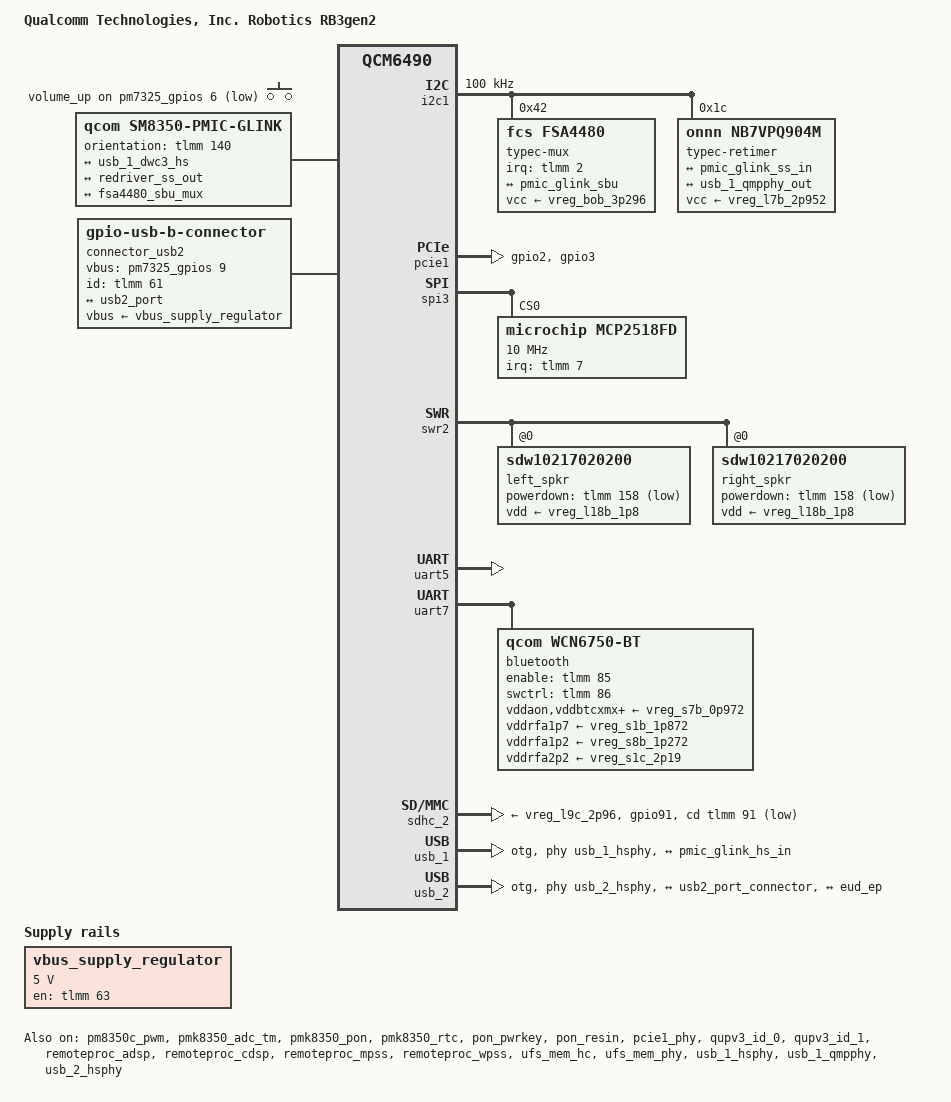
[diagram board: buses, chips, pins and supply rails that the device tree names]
// SPDX-License-Identifier: BSD-3-Clause
/*
 * Copyright (c) 2023-2024 Qualcomm Innovation Center, Inc. All rights reserved.
 */

/dts-v1/;

/* PM7250B is configured to use SID8/9 */
#define PM7250B_SID 8
#define PM7250B_SID1 9

#include <dt-bindings/iio/qcom,spmi-adc7-pm7325.h>
#include <dt-bindings/iio/qcom,spmi-adc7-pmk8350.h>
#include <dt-bindings/input/linux-event-codes.h>
#include <dt-bindings/leds/common.h>
#include <dt-bindings/pinctrl/qcom,pmic-gpio.h>
#include <dt-bindings/regulator/qcom,rpmh-regulator.h>
#include "qcm6490.dtsi"
#include "pm7250b.dtsi"
#include "pm7325.dtsi"
#include "pm8350c.dtsi"
#include "pmk8350.dtsi"

/delete-node/ &usb_2_dwc3;

/ {
	model = "Qualcomm Technologies, Inc. Robotics RB3gen2";
	compatible = "qcom,qcs6490-rb3gen2", "qcom,qcm6490";

	qcom,msm-id = <497 0x10000>, <498 0x10000>, <475 0x10000>, <515 0x10000>;
	qcom,board-id = <32 0x5>, <32 0x605>;

	aliases {
		serial0 = &uart5;
		bluetooth0 = &bluetooth;
		serial1 = &uart7;
	};

	chosen {
		stdout-path = "serial0:115200n8";
	};

	gpio-keys {
		compatible = "gpio-keys";
		label = "gpio-keys";

		pinctrl-0 = <&key_vol_up_default>;
		pinctrl-names = "default";

		key-volume-up {
			label = "volume_up";
			gpios = <&pm7325_gpios 6 GPIO_ACTIVE_LOW>;
			linux,input-type = <1>;
			linux,code = <KEY_VOLUMEUP>;
			wakeup-source;
			debounce-interval = <15>;
			linux,can-disable;
		};
	};

	pmic-glink {
		compatible = "qcom,sm8350-pmic-glink", "qcom,pmic-glink";
		#address-cells = <1>;
		#size-cells = <0>;
		orientation-gpios = <&tlmm 140 GPIO_ACTIVE_HIGH>;
		qcom,thermal-mitigation = <3000000 1500000 1000000 500000>;

		connector@0 {
			compatible = "usb-c-connector";
			reg = <0>;
			power-role = "dual";
			data-role = "dual";

			ports {
				#address-cells = <1>;
				#size-cells = <0>;

				port@0 {
					reg = <0>;

					pmic_glink_hs_in: endpoint {
						remote-endpoint = <&usb_1_dwc3_hs>;
					};
				};

				port@1 {
					reg = <1>;

					pmic_glink_ss_in: endpoint {
						remote-endpoint = <&redriver_ss_out>;
					};
				};

				port@2 {
					reg = <2>;

					pmic_glink_sbu: endpoint {
						remote-endpoint = <&fsa4480_sbu_mux>;
					};
				};
			};
		};
	};

	sound: sound {
		compatible = "qcom,qcm6490-sndcard";
		model = "qcm6490-rb3-snd-card";

		audio-routing =
			"SpkrLeft IN", "WSA_SPK1 OUT",
			"SpkrRight IN", "WSA_SPK2 OUT",
			"VA DMIC0", "vdd-micb",
			"VA DMIC1", "vdd-micb",
			"VA DMIC2", "vdd-micb",
			"VA DMIC3", "vdd-micb";

			#address-cells = <1>;
			#size-cells = <0>;

		wsa-dai-link {
			link-name = "CODEC_DMA-LPAIF_WSA-RX-0";

			cpu {
				sound-dai = <&q6apmbedai WSA_CODEC_DMA_RX_0>;
			};

			codec {
				sound-dai = <&left_spkr>, <&right_spkr>, <&swr2 0>,
					    <&lpass_wsa_macro 0>;
			};
		};

		va-dai-link {
			link-name = "CODEC_DMA-LPAIF_VA-TX-0";

			cpu {
				sound-dai = <&q6apmbedai VA_CODEC_DMA_TX_0>;
			};

			codec {
				sound-dai = <&lpass_va_macro 0>;
			};
		};

		vi-feedback-dai-link {
			link-name = "CODEC_DMA-LPAIF_WSA-TX-0";

			cpu {
				sound-dai = <&q6apmbedai WSA_CODEC_DMA_TX_0>;
			};

			codec {
				sound-dai = <&swr2 6>, <&lpass_wsa_macro 2>;
			};
		};
	};

	thermal-zones {
		quiet-thermal {
			polling-delay-passive = <0>;
			polling-delay = <0>;
			thermal-sensors = <&pmk8350_adc_tm 1>;

			trips {
				active-config0 {
					temperature = <125000>;
					hysteresis = <1000>;
					type = "passive";
				};
			};
		};

		sdm-skin-thermal {
			polling-delay-passive = <0>;
			polling-delay = <0>;
			thermal-sensors = <&pmk8350_adc_tm 3>;

			trips {
				active-config0 {
					temperature = <125000>;
					hysteresis = <1000>;
					type = "passive";
				};
			};
		};

		xo-thermal {
			polling-delay-passive = <0>;
			polling-delay = <0>;
			thermal-sensors = <&pmk8350_adc_tm 0>;

			trips {
				active-config0 {
					temperature = <125000>;
					hysteresis = <1000>;
					type = "passive";
				};
			};
		};
	};
};

&apps_rsc {
	regulators-0 {
		compatible = "qcom,pm7325-rpmh-regulators";
		qcom,pmic-id = "b";

		vreg_s1b_1p872: smps1 {
			regulator-min-microvolt = <1840000>;
			regulator-max-microvolt = <2040000>;
		};

		vreg_s2b_0p876: smps2 {
			regulator-min-microvolt = <570070>;
			regulator-max-microvolt = <1050000>;
		};

		vreg_s7b_0p972: smps7 {
			regulator-min-microvolt = <535000>;
			regulator-max-microvolt = <1120000>;
		};

		vreg_s8b_1p272: smps8 {
			regulator-min-microvolt = <1200000>;
			regulator-max-microvolt = <1500000>;
		};

		vreg_l1b_0p912: ldo1 {
			regulator-min-microvolt = <912000>;
			regulator-max-microvolt = <925000>;
			regulator-initial-mode = <RPMH_REGULATOR_MODE_HPM>;
		};

		vreg_l2b_3p072: ldo2 {
			regulator-min-microvolt = <2700000>;
			regulator-max-microvolt = <3544000>;
			regulator-initial-mode = <RPMH_REGULATOR_MODE_HPM>;
		};

		vreg_l3b_0p504: ldo3 {
			regulator-min-microvolt = <312000>;
			regulator-max-microvolt = <910000>;
			regulator-initial-mode = <RPMH_REGULATOR_MODE_HPM>;
		};

		vreg_l4b_0p752: ldo4 {
			regulator-min-microvolt = <752000>;
			regulator-max-microvolt = <820000>;
			regulator-initial-mode = <RPMH_REGULATOR_MODE_HPM>;
		};

		vreg_l5b_0p752: ldo5 {
			regulator-min-microvolt = <552000>;
			regulator-max-microvolt = <832000>;
			regulator-initial-mode = <RPMH_REGULATOR_MODE_HPM>;
		};

		vreg_l6b_1p2: ldo6 {
			regulator-min-microvolt = <1140000>;
			regulator-max-microvolt = <1260000>;
			regulator-initial-mode = <RPMH_REGULATOR_MODE_HPM>;
		};

		vreg_l7b_2p952: ldo7 {
			regulator-min-microvolt = <2400000>;
			regulator-max-microvolt = <3544000>;
			regulator-initial-mode = <RPMH_REGULATOR_MODE_HPM>;
		};

		vreg_l8b_0p904: ldo8 {
			regulator-min-microvolt = <870000>;
			regulator-max-microvolt = <970000>;
			regulator-initial-mode = <RPMH_REGULATOR_MODE_HPM>;
		};

		vreg_l9b_1p2: ldo9 {
			regulator-min-microvolt = <1200000>;
			regulator-max-microvolt = <1304000>;
			regulator-initial-mode = <RPMH_REGULATOR_MODE_HPM>;
		};

		vreg_l11b_1p504: ldo11 {
			regulator-min-microvolt = <1504000>;
			regulator-max-microvolt = <2000000>;
			regulator-initial-mode = <RPMH_REGULATOR_MODE_HPM>;
		};

		vreg_l12b_0p751: ldo12 {
			regulator-min-microvolt = <751000>;
			regulator-max-microvolt = <824000>;
			regulator-initial-mode = <RPMH_REGULATOR_MODE_HPM>;
		};

		vreg_l13b_0p53: ldo13 {
			regulator-min-microvolt = <530000>;
			regulator-max-microvolt = <824000>;
			regulator-initial-mode = <RPMH_REGULATOR_MODE_HPM>;
		};

		vreg_l14b_1p08: ldo14 {
			regulator-min-microvolt = <1080000>;
			regulator-max-microvolt = <1304000>;
			regulator-initial-mode = <RPMH_REGULATOR_MODE_HPM>;
		};

		vreg_l15b_0p765: ldo15 {
			regulator-min-microvolt = <765000>;
			regulator-max-microvolt = <1020000>;
			regulator-initial-mode = <RPMH_REGULATOR_MODE_HPM>;
		};

		vreg_l16b_1p1: ldo16 {
			regulator-min-microvolt = <1100000>;
			regulator-max-microvolt = <1300000>;
			regulator-initial-mode = <RPMH_REGULATOR_MODE_HPM>;
		};

		vreg_l17b_1p7: ldo17 {
			regulator-min-microvolt = <1700000>;
			regulator-max-microvolt = <1900000>;
			regulator-initial-mode = <RPMH_REGULATOR_MODE_HPM>;
		};

		vreg_l18b_1p8: ldo18 {
			regulator-min-microvolt = <1800000>;
			regulator-max-microvolt = <2000000>;
			regulator-initial-mode = <RPMH_REGULATOR_MODE_HPM>;
		};

		vreg_l19b_1p8: ldo19 {
			regulator-min-microvolt = <1800000>;
			regulator-max-microvolt = <2000000>;
			regulator-initial-mode = <RPMH_REGULATOR_MODE_HPM>;
		};
	};

	regulators-1 {
		compatible = "qcom,pm8350c-rpmh-regulators";
		qcom,pmic-id = "c";

		vreg_s1c_2p19: smps1 {
			regulator-min-microvolt = <2190000>;
			regulator-max-microvolt = <2210000>;
		};

		vreg_s2c_0p752: smps2 {
			regulator-min-microvolt = <750000>;
			regulator-max-microvolt = <800000>;
		};

		vreg_s5c_0p752: smps5 {
			regulator-min-microvolt = <465000>;
			regulator-max-microvolt = <1050000>;
		};

		vreg_s7c_0p752: smps7 {
			regulator-min-microvolt = <465000>;
			regulator-max-microvolt = <800000>;
		};

		vreg_s9c_1p084: smps9 {
			regulator-min-microvolt = <1010000>;
			regulator-max-microvolt = <1170000>;
		};

		vreg_s10c_0p752:smps10 {
			regulator-min-microvolt = <752000>;
			regulator-max-microvolt = <800000>;
		};

		vreg_l1c_1p8: ldo1 {
			regulator-min-microvolt = <1800000>;
			regulator-max-microvolt = <1980000>;
			regulator-initial-mode = <RPMH_REGULATOR_MODE_HPM>;
		};

		vreg_l2c_1p62: ldo2 {
			regulator-min-microvolt = <1620000>;
			regulator-max-microvolt = <1980000>;
			regulator-initial-mode = <RPMH_REGULATOR_MODE_HPM>;
		};

		vreg_l3c_2p8: ldo3 {
			regulator-min-microvolt = <2800000>;
			regulator-max-microvolt = <3540000>;
			regulator-initial-mode = <RPMH_REGULATOR_MODE_HPM>;
		};

		vreg_l4c_1p62: ldo4 {
			regulator-min-microvolt = <1620000>;
			regulator-max-microvolt = <3300000>;
			regulator-initial-mode = <RPMH_REGULATOR_MODE_HPM>;
		};

		vreg_l5c_1p62: ldo5 {
			regulator-min-microvolt = <1620000>;
			regulator-max-microvolt = <3300000>;
			regulator-initial-mode = <RPMH_REGULATOR_MODE_HPM>;
		};

		vreg_l6c_2p96: ldo6 {
			regulator-min-microvolt = <1650000>;
			regulator-max-microvolt = <3544000>;
			regulator-initial-mode = <RPMH_REGULATOR_MODE_HPM>;
		};

		vreg_l7c_3p0: ldo7 {
			regulator-min-microvolt = <3000000>;
			regulator-max-microvolt = <3544000>;
			regulator-initial-mode = <RPMH_REGULATOR_MODE_HPM>;
		};

		vreg_l8c_1p62: ldo8 {
			regulator-min-microvolt = <1620000>;
			regulator-max-microvolt = <2000000>;
			regulator-initial-mode = <RPMH_REGULATOR_MODE_HPM>;
		};

		vreg_l9c_2p96: ldo9 {
			regulator-min-microvolt = <2700000>;
			regulator-max-microvolt = <3544000>;
			regulator-initial-mode = <RPMH_REGULATOR_MODE_HPM>;
		};

		vreg_l10c_0p88: ldo10 {
			regulator-min-microvolt = <880000>;
			regulator-max-microvolt = <1050000>;
			regulator-initial-mode = <RPMH_REGULATOR_MODE_HPM>;
		};

		vreg_l11c_2p8: ldo11 {
			regulator-min-microvolt = <2800000>;
			regulator-max-microvolt = <3544000>;
			regulator-initial-mode = <RPMH_REGULATOR_MODE_HPM>;
		};

		vreg_l12c_1p65: ldo12 {
			regulator-min-microvolt = <1650000>;
			regulator-max-microvolt = <2000000>;
			regulator-initial-mode = <RPMH_REGULATOR_MODE_HPM>;
		};

		vreg_l13c_2p7: ldo13 {
			regulator-min-microvolt = <2700000>;
			regulator-max-microvolt = <3544000>;
			regulator-initial-mode = <RPMH_REGULATOR_MODE_HPM>;
		};

		vreg_bob_3p296: bob {
			regulator-min-microvolt = <3008000>;
			regulator-max-microvolt = <3960000>;
		};
	};
};

&gcc {
	protected-clocks = <GCC_QSPI_CNOC_PERIPH_AHB_CLK>, <GCC_QSPI_CORE_CLK>,
			<GCC_QSPI_CORE_CLK_SRC>, <GCC_CFG_NOC_LPASS_CLK>,
			<GCC_MSS_GPLL0_MAIN_DIV_CLK_SRC>, <GCC_MSS_CFG_AHB_CLK>,
			<GCC_MSS_OFFLINE_AXI_CLK>, <GCC_MSS_SNOC_AXI_CLK>,
			<GCC_MSS_Q6_MEMNOC_AXI_CLK>, <GCC_MSS_Q6SS_BOOT_CLK_SRC>,
			<GCC_SEC_CTRL_CLK_SRC>, <GCC_WPSS_AHB_CLK>,
			<GCC_WPSS_AHB_BDG_MST_CLK>, <GCC_WPSS_RSCP_CLK>;
};

&i2c1 {
	clock-frequency = <100000>;
	status = "okay";

	typec-mux@42 {
		compatible = "fcs,fsa4480";
		reg = <0x42>;
		interrupts-extended = <&tlmm 2 IRQ_TYPE_LEVEL_LOW>;
		vcc-supply = <&vreg_bob_3p296>;
		mode-switch;
		orientation-switch;
		svid = /bits/ 16 <0xff01>;

		ports {
			#address-cells = <1>;
			#size-cells = <0>;

			port@0 {
				reg = <0>;

				fsa4480_sbu_mux: endpoint {
					remote-endpoint = <&pmic_glink_sbu>;
				};
			};
		};
	};

	typec-retimer@1c {
		compatible = "onnn,nb7vpq904m";
		reg = <0x1c>;

		vcc-supply = <&vreg_l7b_2p952>;

		retimer-switch;
		orientation-switch;

		ports {
			#address-cells = <1>;
			#size-cells = <0>;

			port@0 {
				reg = <0>;

				redriver_ss_out: endpoint {
					remote-endpoint = <&pmic_glink_ss_in>;
				};
			};

			port@1 {
				reg = <1>;

				redriver_ss_in: endpoint {
					data-lanes = <3 2 1 0>;
					remote-endpoint = <&usb_1_qmpphy_out>;
				};
			};
		};
	};
};

&ipa {
	status = "disabled";
};

&lpasscc {
	status = "disabled";
};

&pm7325_gpios {
	key_vol_up_default: key-vol-up-state {
		pins = "gpio6";
		function = "normal";
		input-enable;
		bias-pull-up;
		power-source = <0>;
		qcom,drive-strength = <3>;
	};
};

&pm7325_temp_alarm {
	io-channels = <&pmk8350_vadc PM7325_ADC7_DIE_TEMP>;
	io-channel-names = "thermal";
};

&pm8350c_pwm {
	#address-cells = <1>;
	#size-cells = <0>;
	status = "okay";

	led@1 {
		reg = <1>;
		color = <LED_COLOR_ID_RED>;
		label = "red";
	};

	led@2 {
		reg = <2>;
		color = <LED_COLOR_ID_GREEN>;
		label = "green";
	};

	led@3 {
		reg = <3>;
		color = <LED_COLOR_ID_BLUE>;
		label = "blue";
	};
};

&pmk8350_adc_tm {
	status = "okay";

	xo-therm@0 {
		reg = <0>;
		io-channels = <&pmk8350_vadc PMK8350_ADC7_AMUX_THM1_100K_PU>;
		qcom,ratiometric;
		qcom,hw-settle-time-us = <200>;
	};

	quiet-therm@1 {
		reg = <1>;
		io-channels = <&pmk8350_vadc PM7325_ADC7_AMUX_THM1_100K_PU>;
		qcom,ratiometric;
		qcom,hw-settle-time-us = <200>;
	};

	sdm-skin-therm@3 {
		reg = <3>;
		io-channels = <&pmk8350_vadc PM7325_ADC7_AMUX_THM3_100K_PU>;
		qcom,ratiometric;
		qcom,hw-settle-time-us = <200>;
	};
};

&pmk8350_pon {
	status = "okay";
};

&pmk8350_rtc {
	status = "okay";
};

&pmk8350_vadc {
	channel@44 {
		reg = <PMK8350_ADC7_AMUX_THM1_100K_PU>;
		label = "xo_therm";
		qcom,hw-settle-time = <200>;
		qcom,pre-scaling = <1 1>;
		qcom,ratiometric;
	};

	channel@103 {
		reg = <PM7325_ADC7_DIE_TEMP>;
		label = "pm7325_die_temp";
		qcom,pre-scaling = <1 1>;
	};

	channel@144 {
		reg = <PM7325_ADC7_AMUX_THM1_100K_PU>;
		qcom,ratiometric;
		qcom,hw-settle-time = <200>;
		qcom,pre-scaling = <1 1>;
		label = "pm7325_quiet_therm";
	};

	channel@146 {
		reg = <PM7325_ADC7_AMUX_THM3_100K_PU>;
		qcom,ratiometric;
		qcom,hw-settle-time = <200>;
		qcom,pre-scaling = <1 1>;
		label = "pm7325_sdm_skin_therm";
	};

	pmk8350-die-temp@3 {
		reg = <PMK8350_ADC7_DIE_TEMP>;
		label = "pmk8350_die_temp";
		qcom,pre-scaling = <1 1>;
	};
};

&pon_pwrkey {
	status = "okay";
};

&pon_resin {
	linux,code = <KEY_VOLUMEDOWN>;
	status = "okay";
};

&lpass_dmic01_clk {
	drive-strength = <8>;
	bias-disable;
};

&lpass_dmic01_data {
	bias-pull-down;
};

&lpass_dmic23_clk {
	drive-strength = <8>;
	bias-disable;
};

&lpass_dmic23_data {
	bias-pull-down;
};

&lpass_dmic45_clk {
	drive-strength = <8>;
	bias-disable;
};

&lpass_dmic45_data {
	bias-pull-down;
};

&lpass_wsa_swr_clk {
	drive-strength = <2>;
	slew-rate = <1>;
	bias-disable;
};

&lpass_wsa_swr_data {
	drive-strength = <2>;
	slew-rate = <1>;
	bias-bus-hold;
};

&pcie1 {
	perst-gpios = <&tlmm 2 GPIO_ACTIVE_LOW>;

	pinctrl-0 = <&pcie1_reset_n>, <&pcie1_wake_n>, <&pcie1_clkreq_n>;
	pinctrl-names = "default";

	iommu-map = <0x0 &apps_smmu 0x1c80 0x1>,
		    <0x100 &apps_smmu 0x1c81 0x1>,
		    <0x208 &apps_smmu 0x1c84 0x1>,
		    <0x210 &apps_smmu 0x1c85 0x1>,
		    <0x218 &apps_smmu 0x1c86 0x1>,
		    <0x300 &apps_smmu 0x1c87 0x1>,
		    <0x400 &apps_smmu 0x1c88 0x1>,
		    <0x500 &apps_smmu 0x1c89 0x1>,
		    <0x501 &apps_smmu 0x1c90 0x1>;

	status = "okay";
};

&pcie1_phy {
	vdda-phy-supply = <&vreg_l10c_0p88>;
	vdda-pll-supply = <&vreg_l6b_1p2>;

	status = "okay";
};

&qup_uart5_rx {
	drive-strength = <2>;
	bias-pull-up;
};

&qup_uart5_tx {
	drive-strength = <2>;
	bias-disable;
};

&qup_uart7_cts {
	/*
	 * Configure a bias-bus-hold on CTS to lower power
	 * usage when Bluetooth is turned off. Bus hold will
	 * maintain a low power state regardless of whether
	 * the Bluetooth module drives the pin in either
	 * direction or leaves the pin fully unpowered.
	 */
	bias-bus-hold;
};

&qup_uart7_rts {
	/* We'll drive RTS, so no pull */
	drive-strength = <2>;
	bias-disable;
};

&qup_uart7_rx {
	/*
	 * Configure a pull-up on RX. This is needed to avoid
	 * garbage data when the TX pin of the Bluetooth module is
	 * in tri-state (module powered off or not driving the
	 * signal yet).
	 */
	bias-pull-up;
};

&qup_uart7_tx {
	/* We'll drive TX, so no pull */
	drive-strength = <2>;
	bias-disable;
};

&gpi_dma0 {
	status = "okay";
};

&gpi_dma1 {
	status = "okay";
};

&qupv3_id_0 {
	status = "okay";
};

&qupv3_id_1 {
	status = "okay";
};

&remoteproc_adsp {
	firmware-name = "qcom/qcs6490/adsp.mdt";
	status = "okay";
};

&remoteproc_cdsp {
	firmware-name = "qcom/qcs6490/cdsp.mdt";
	status = "okay";
};

&remoteproc_mpss {
	firmware-name = "qcom/qcs6490/modem.mdt";
	status = "okay";
};

&remoteproc_wpss {
	firmware-name = "qcom/qcs6490/wpss.mdt";
	status = "okay";
};

&spi3 {
	status = "okay";

	mcp2518fd: can@0 {
		compatible = "microchip,mcp2518fd";
		reg = <0>;
		#address-cells = <1>;
		#size-cells = <0>;
		clock-frequency = <40000000>;
		spi-max-frequency = <10000000>;
		interrupt-names = "can_irq";
		interrupts-extended = <&tlmm 7 IRQ_TYPE_LEVEL_LOW>;
		status = "okay";
	};
};

&swr2 {
	qcom,din-ports = <0>;
	qcom,dout-ports = <8>;

	left_spkr: speaker@0,1 {
		compatible = "sdw10217020200";
		reg = <0 1>;
		powerdown-gpios = <&tlmm 158 GPIO_ACTIVE_LOW>;
		#sound-dai-cells = <0>;
		sound-name-prefix = "SpkrLeft";
		#thermal-sensor-cells = <0>;
		vdd-supply = <&vreg_l18b_1p8>;
		qcom,port-mapping = <1 2 3 7>;
	};

	right_spkr: speaker@0,2 {
		compatible = "sdw10217020200";
		reg = <0 2>;
		powerdown-gpios = <&tlmm 158 GPIO_ACTIVE_LOW>;
		#sound-dai-cells = <0>;
		sound-name-prefix = "SpkrRight";
		#thermal-sensor-cells = <0>;
		vdd-supply = <&vreg_l18b_1p8>;
		qcom,port-mapping = <4 5 6 8>;
	};
};

&tlmm {
	bt_en: bt-en-state {
		pins = "gpio85";
		function = "gpio";
		output-low;
		bias-disable;
	};

	pcie1_reset_n: pcie1-reset-n-state {
		pins = "gpio2";
		function = "gpio";
		drive-strength = <16>;
		output-low;
		bias-disable;
	};

	pcie1_wake_n: pcie1-wake-n-state {
		pins = "gpio3";
		function = "gpio";
		drive-strength = <2>;
		bias-pull-up;
	};

	qup_uart7_sleep_cts: qup-uart7-sleep-cts-state {
		pins = "gpio28";
		function = "gpio";
		/*
		 * Configure a bias-bus-hold on CTS to lower power
		 * usage when Bluetooth is turned off. Bus hold will
		 * maintain a low power state regardless of whether
		 * the Bluetooth module drives the pin in either
		 * direction or leaves the pin fully unpowered.
		 */
		bias-bus-hold;
	};

	qup_uart7_sleep_rts: qup-uart7-sleep-rts-state {
		pins = "gpio29";
		function = "gpio";
		/*
		 * Configure pull-down on RTS. As RTS is active low
		 * signal, pull it low to indicate the BT SoC that it
		 * can wakeup the system anytime from suspend state by
		 * pulling RX low (by sending wakeup bytes).
		 */
		bias-pull-down;
	};

	qup_uart7_sleep_rx: qup-uart7-sleep-rx-state {
		pins = "gpio31";
		function = "gpio";
		/*
		 * Configure a pull-up on RX. This is needed to avoid
		 * garbage data when the TX pin of the Bluetooth module
		 * is floating which may cause spurious wakeups.
		 */
		bias-pull-up;
	};

	qup_uart7_sleep_tx: qup-uart7-sleep-tx-state {
		pins = "gpio30";
		function = "gpio";
		/*
		 * Configure pull-up on TX when it isn't actively driven
		 * to prevent BT SoC from receiving garbage during sleep.
		 */
		bias-pull-up;
	};

	sw_ctrl: sw-ctrl-state {
		pins = "gpio86";
		function = "gpio";
		bias-pull-down;
	};
};

&uart5 {
	compatible = "qcom,geni-debug-uart";
	status = "okay";
};

&uart7 {
	status = "okay";
	/delete-property/interrupts;
	interrupts-extended = <&intc GIC_SPI 608 IRQ_TYPE_LEVEL_HIGH>,
				<&tlmm 31 IRQ_TYPE_EDGE_FALLING>;
	pinctrl-names = "default", "sleep";
	pinctrl-1 = <&qup_uart7_sleep_cts>, <&qup_uart7_sleep_rts>,
			<&qup_uart7_sleep_tx>, <&qup_uart7_sleep_rx>;

	bluetooth: bluetooth {
		compatible = "qcom,wcn6750-bt";
		pinctrl-names = "default";
		pinctrl-0 = <&bt_en>, <&sw_ctrl>;
		enable-gpios = <&tlmm 85 GPIO_ACTIVE_HIGH>;
		swctrl-gpios = <&tlmm 86 GPIO_ACTIVE_HIGH>;
		vddaon-supply = <&vreg_s7b_0p972>;
		vddbtcxmx-supply = <&vreg_s7b_0p972>;
		vddrfacmn-supply = <&vreg_s7b_0p972>;
		vddrfa0p8-supply = <&vreg_s7b_0p972>;
		vddrfa1p7-supply = <&vreg_s1b_1p872>;
		vddrfa1p2-supply = <&vreg_s8b_1p272>;
		vddrfa2p2-supply = <&vreg_s1c_2p19>;
		vddasd-supply = <&vreg_l11c_2p8>;
		max-speed = <3200000>;
	};
};

&ufs_mem_hc {
	reset-gpios = <&tlmm 175 GPIO_ACTIVE_LOW>;
	vcc-supply = <&vreg_l7b_2p952>;
	vcc-max-microamp = <800000>;
	vccq-supply = <&vreg_l9b_1p2>;
	vccq-max-microamp = <900000>;
	vccq2-supply = <&vreg_l9b_1p2>;
	vccq2-max-microamp = <900000>;

	status = "okay";
};

&ufs_mem_phy {
	vdda-phy-supply = <&vreg_l10c_0p88>;
	vdda-pll-supply = <&vreg_l6b_1p2>;

	status = "okay";
};

&sdhc_2 {
	status = "okay";

	pinctrl-0 = <&sdc2_clk>, <&sdc2_cmd>, <&sdc2_data>, <&sd_cd>;
	pinctrl-1 = <&sdc2_clk_sleep>, <&sdc2_cmd_sleep>, <&sdc2_data_sleep>, <&sd_cd>;

	vmmc-supply = <&vreg_l9c_2p96>;
	vqmmc-supply = <&vreg_l6c_2p96>;

	cd-gpios = <&tlmm 91 GPIO_ACTIVE_LOW>;
};

/delete-node/ &usb_1_dwc3;

&usb_1 {

	reg = <0x0 0x0a600000 0x0 0x200000>;

	interrupts-extended = <&intc GIC_SPI 133 IRQ_TYPE_LEVEL_HIGH>,
			      <&intc GIC_SPI 131 IRQ_TYPE_LEVEL_HIGH>,
			      <&pdc 14 IRQ_TYPE_LEVEL_HIGH>,
			      <&pdc 15 IRQ_TYPE_EDGE_BOTH>,
			      <&pdc 17 IRQ_TYPE_EDGE_BOTH>;
	interrupt-names = "dwc_usb3",
			  "hs_phy_irq",
			  "dp_hs_phy_irq",
			  "dm_hs_phy_irq",
			  "ss_phy_irq";

	iommus = <&apps_smmu 0xe0 0x0>;
	snps,dis_u2_susphy_quirk;
	snps,dis_enblslpm_quirk;
	phys = <&usb_1_hsphy>, <&usb_1_qmpphy QMP_USB43DP_USB3_PHY>;
	phy-names = "usb2-phy", "usb3-phy";
	maximum-speed = "super-speed";
	snps,dis-u2-entry-quirk;
	snps,dis-u1-entry-quirk;
	dr_mode = "otg";
	usb-role-switch;
	qcom,enable-rt;
	wakeup-source;

	status = "okay";

	ports {
		#address-cells = <1>;
		#size-cells = <0>;

		port@0 {
			reg = <0>;
			usb_1_dwc3_hs: endpoint {
			};
		};
	};
};

&usb_1_dwc3_hs {
	remote-endpoint = <&pmic_glink_hs_in>;
};

&usb_1_hsphy {
	vdda-pll-supply = <&vreg_l10c_0p88>;
	vdda18-supply = <&vreg_l1c_1p8>;
	vdda33-supply = <&vreg_l2b_3p072>;

	status = "okay";
};

&usb_1_qmpphy {
	vdda-phy-supply = <&vreg_l6b_1p2>;
	vdda-pll-supply = <&vreg_l1b_0p912>;

	orientation-switch;
	status = "okay";
};

&usb_1_qmpphy_out {
	remote-endpoint = <&redriver_ss_in>;
};

&vreg_l7b_2p952 {
	/delete-property/regulator-min-microvolt;
	/delete-property/regulator-max-microvolt;
	regulator-allow-set-load;
	regulator-allowed-modes = <RPMH_REGULATOR_MODE_LPM RPMH_REGULATOR_MODE_HPM>;
};

&vreg_l9b_1p2 {
	/delete-property/regulator-min-microvolt;
	/delete-property/regulator-max-microvolt;
	regulator-allow-set-load;
	regulator-allowed-modes = <RPMH_REGULATOR_MODE_LPM RPMH_REGULATOR_MODE_HPM>;
};

/*     USB2 Related Start        */
/*==============================*/

&pm7325_gpios {
	usb2_vbus_det_default: usb2_vbus_det_state {
		pins = "gpio9";
		function = "normal";
		bias-pull-down;
		input-enable;
		power-source = <0>;
	};
};

&sdc2_clk {
	bias-disable;
	drive-strength = <16>;
};

&sdc2_cmd {
	bias-pull-up;
	drive-strength = <10>;
};

&sdc2_data {
	bias-pull-up;
	drive-strength = <10>;
};

&tlmm {
	usb2_id_det_default: usb2_id_det_default {
		pins = "gpio61";
		function = "gpio";
		drive-strength = <2>;
		bias-pull-up;
	};

	sd_cd: sd-cd-state {
		pins = "gpio91";
		function = "gpio";
		bias-pull-up;
	};
};

&soc {
	vbus_supply_regulator: vbus_supply_regulator {
	       compatible = "regulator-fixed";
	       regulator-name = "vbus_supply";
	       gpio = <&tlmm 63 GPIO_ACTIVE_HIGH>;
	       regulator-min-microvolt = <5000000>;
	       regulator-max-microvolt = <5000000>;
	       regulator-boot-on;
	       enable-active-high;
	};

	connector_usb2: connector_usb2 {
		compatible = "gpio-usb-b-connector";
		vbus-gpio = <&pm7325_gpios 9 GPIO_ACTIVE_HIGH>;
		id-gpio = <&tlmm 61 GPIO_ACTIVE_HIGH>;
		vbus-supply = <&vbus_supply_regulator>;

		pinctrl-names = "default";
		pinctrl-0 = <&usb2_vbus_det_default>,
			     <&usb2_id_det_default>;
		ports {
			#address-cells = <1>;
			#size-cells = <0>;

			port@0 {
				reg = <0>;
				usb2_port_connector: endpoint {
					remote-endpoint = <&usb2_port>;
				};
			};
		};
	};
};

&usb_2 {
	reg = <0x0 0x08c00000 0x0 0x100000>;

	interrupts-extended = <&intc GIC_SPI 242 IRQ_TYPE_LEVEL_HIGH>,
				<&intc GIC_SPI 240 IRQ_TYPE_LEVEL_HIGH>,
				<&pdc 12 IRQ_TYPE_LEVEL_HIGH>,
				<&pdc 13 IRQ_TYPE_EDGE_BOTH>;
	interrupt-names = "dwc_usb2",
			"hs_phy_irq",
			"dp_hs_phy_irq",
			"dm_hs_phy_irq";

	iommus = <&apps_smmu 0xa0 0x0>;
	snps,dis_u2_susphy_quirk;
	snps,dis_enblslpm_quirk;
	phys = <&usb_2_hsphy>;
	phy-names = "usb2-phy";
	maximum-speed = "high-speed";
	snps,dis-u2-entry-quirk;
	snps,dis-u1-entry-quirk;

	usb-role-switch;
	qcom,enable-rt;
	wakeup-source;
	dr_mode = "otg";

	status = "okay";

	ports {
		#address-cells = <1>;
		#size-cells = <0>;

		port@0 {
			reg = <0>;
			usb2_port: endpoint {
				remote-endpoint = <&usb2_port_connector>;
			};
		};

		port@1 {
			usb2_role_switch: endpoint {
				remote-endpoint = <&eud_ep>;
			};
		};
	};
};

&usb_2_hsphy {
	vdda-pll-supply = <&vreg_l10c_0p88>;
	vdda18-supply = <&vreg_l1c_1p8>;
	vdda33-supply = <&vreg_l2b_3p072>;

	status = "okay";
};
